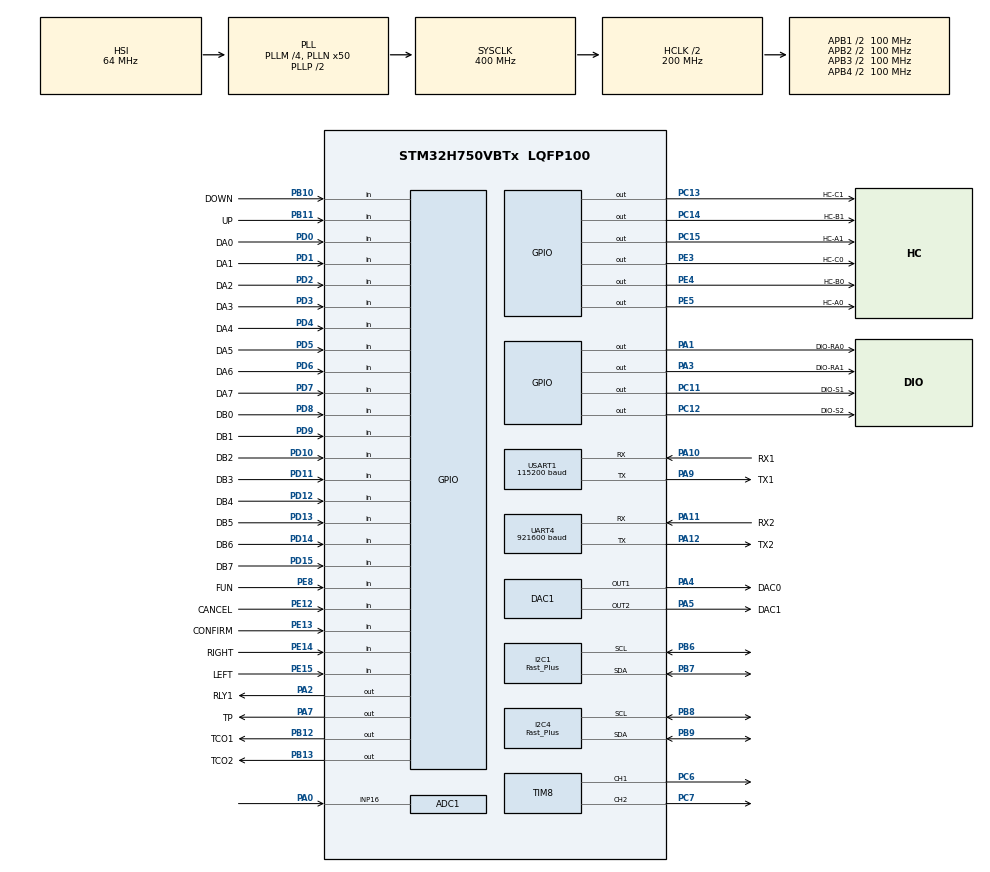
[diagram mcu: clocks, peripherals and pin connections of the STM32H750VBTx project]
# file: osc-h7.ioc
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ADC1.Channel-20\#ChannelRegularConversion=ADC_CHANNEL_16
ADC1.NbrOfConversionFlag=1
ADC1.OffsetNumber-20\#ChannelRegularConversion=ADC_OFFSET_NONE
ADC1.OffsetSignedSaturation-20\#ChannelRegularConversion=DISABLE
ADC1.Rank-20\#ChannelRegularConversion=1
ADC1.SamplingTime-20\#ChannelRegularConversion=ADC_SAMPLETIME_810CYCLES_5
ADC1.master=1
Bdma.BDMA_GENERATOR0.0.Direction=DMA_PERIPH_TO_MEMORY
Bdma.BDMA_GENERATOR0.0.EventEnable=DISABLE
Bdma.BDMA_GENERATOR0.0.Instance=BDMA_Channel0
Bdma.BDMA_GENERATOR0.0.MemDataAlignment=DMA_MDATAALIGN_BYTE
Bdma.BDMA_GENERATOR0.0.MemInc=DMA_MINC_ENABLE
Bdma.BDMA_GENERATOR0.0.Mode=DMA_NORMAL
Bdma.BDMA_GENERATOR0.0.PeriphDataAlignment=DMA_PDATAALIGN_BYTE
Bdma.BDMA_GENERATOR0.0.PeriphInc=DMA_PINC_DISABLE
Bdma.BDMA_GENERATOR0.0.Polarity=HAL_DMAMUX_REQ_GEN_RISING
Bdma.BDMA_GENERATOR0.0.Priority=DMA_PRIORITY_LOW
Bdma.BDMA_GENERATOR0.0.RequestNumber=1
Bdma.BDMA_GENERATOR0.0.SignalID=NONE
Bdma.BDMA_GENERATOR0.0.SyncEnable=DISABLE
Bdma.BDMA_GENERATOR0.0.SyncPolarity=HAL_DMAMUX_SYNC_NO_EVENT
Bdma.BDMA_GENERATOR0.0.SyncRequestNumber=1
Bdma.BDMA_GENERATOR0.0.SyncSignalID=NONE
Bdma.I2C4_TX.1.Direction=DMA_MEMORY_TO_PERIPH
Bdma.I2C4_TX.1.EventEnable=DISABLE
Bdma.I2C4_TX.1.Instance=BDMA_Channel1
Bdma.I2C4_TX.1.MemDataAlignment=DMA_MDATAALIGN_BYTE
Bdma.I2C4_TX.1.MemInc=DMA_MINC_ENABLE
Bdma.I2C4_TX.1.Mode=DMA_NORMAL
Bdma.I2C4_TX.1.PeriphDataAlignment=DMA_PDATAALIGN_BYTE
Bdma.I2C4_TX.1.PeriphInc=DMA_PINC_DISABLE
Bdma.I2C4_TX.1.Polarity=HAL_DMAMUX_REQ_GEN_RISING
Bdma.I2C4_TX.1.Priority=DMA_PRIORITY_LOW
Bdma.I2C4_TX.1.RequestNumber=1
Bdma.I2C4_TX.1.SignalID=NONE
Bdma.I2C4_TX.1.SyncEnable=DISABLE
Bdma.I2C4_TX.1.SyncPolarity=HAL_DMAMUX_SYNC_NO_EVENT
Bdma.I2C4_TX.1.SyncRequestNumber=1
Bdma.I2C4_TX.1.SyncSignalID=NONE
Bdma.Request0=BDMA_GENERATOR0
Bdma.Request1=I2C4_TX
Bdma.RequestsNb=2
DAC1.DAC_Channel-DAC_OUT1=DAC_CHANNEL_1
DAC1.DAC_Channel-DAC_OUT2=DAC_CHANNEL_2
Dma.Request0=USART1_RX
Dma.Request1=USART1_TX
Dma.Request2=TIM8_CH1
Dma.Request3=UART4_TX
Dma.Request4=TIM2_CH1
Dma.Request5=TIM2_CH2
Dma.Request6=TIM2_CH3
Dma.Request7=TIM2_CH4
Dma.TIM2_CH1.4.Direction=DMA_PERIPH_TO_MEMORY
Dma.TIM2_CH1.4.EventEnable=DISABLE
Dma.TIM2_CH1.4.FIFOMode=DMA_FIFOMODE_ENABLE
Dma.TIM2_CH1.4.FIFOThreshold=DMA_FIFO_THRESHOLD_FULL
Dma.TIM2_CH1.4.Instance=DMA1_Stream2
Dma.TIM2_CH1.4.MemBurst=DMA_MBURST_SINGLE
Dma.TIM2_CH1.4.MemDataAlignment=DMA_MDATAALIGN_HALFWORD
Dma.TIM2_CH1.4.MemInc=DMA_MINC_ENABLE
Dma.TIM2_CH1.4.Mode=DMA_NORMAL
Dma.TIM2_CH1.4.PeriphBurst=DMA_PBURST_SINGLE
Dma.TIM2_CH1.4.PeriphDataAlignment=DMA_PDATAALIGN_HALFWORD
Dma.TIM2_CH1.4.PeriphInc=DMA_PINC_DISABLE
Dma.TIM2_CH1.4.Polarity=HAL_DMAMUX_REQ_GEN_RISING
Dma.TIM2_CH1.4.Priority=DMA_PRIORITY_VERY_HIGH
Dma.TIM2_CH1.4.RequestNumber=1
Dma.TIM2_CH1.4.SignalID=NONE
Dma.TIM2_CH1.4.SyncEnable=DISABLE
Dma.TIM2_CH1.4.SyncPolarity=HAL_DMAMUX_SYNC_NO_EVENT
Dma.TIM2_CH1.4.SyncRequestNumber=1
Dma.TIM2_CH1.4.SyncSignalID=NONE
Dma.TIM2_CH2.5.Direction=DMA_PERIPH_TO_MEMORY
Dma.TIM2_CH2.5.EventEnable=DISABLE
Dma.TIM2_CH2.5.FIFOMode=DMA_FIFOMODE_ENABLE
Dma.TIM2_CH2.5.FIFOThreshold=DMA_FIFO_THRESHOLD_FULL
Dma.TIM2_CH2.5.Instance=DMA2_Stream0
Dma.TIM2_CH2.5.MemBurst=DMA_MBURST_SINGLE
Dma.TIM2_CH2.5.MemDataAlignment=DMA_MDATAALIGN_HALFWORD
Dma.TIM2_CH2.5.MemInc=DMA_MINC_ENABLE
Dma.TIM2_CH2.5.Mode=DMA_NORMAL
Dma.TIM2_CH2.5.PeriphBurst=DMA_PBURST_SINGLE
Dma.TIM2_CH2.5.PeriphDataAlignment=DMA_PDATAALIGN_HALFWORD
Dma.TIM2_CH2.5.PeriphInc=DMA_PINC_DISABLE
Dma.TIM2_CH2.5.Polarity=HAL_DMAMUX_REQ_GEN_RISING
Dma.TIM2_CH2.5.Priority=DMA_PRIORITY_HIGH
Dma.TIM2_CH2.5.RequestNumber=1
Dma.TIM2_CH2.5.SignalID=NONE
Dma.TIM2_CH2.5.SyncEnable=DISABLE
Dma.TIM2_CH2.5.SyncPolarity=HAL_DMAMUX_SYNC_NO_EVENT
Dma.TIM2_CH2.5.SyncRequestNumber=1
Dma.TIM2_CH2.5.SyncSignalID=NONE
Dma.TIM2_CH3.6.Direction=DMA_PERIPH_TO_MEMORY
Dma.TIM2_CH3.6.EventEnable=DISABLE
Dma.TIM2_CH3.6.FIFOMode=DMA_FIFOMODE_ENABLE
Dma.TIM2_CH3.6.FIFOThreshold=DMA_FIFO_THRESHOLD_FULL
Dma.TIM2_CH3.6.Instance=DMA1_Stream3
Dma.TIM2_CH3.6.MemBurst=DMA_MBURST_SINGLE
Dma.TIM2_CH3.6.MemDataAlignment=DMA_MDATAALIGN_HALFWORD
Dma.TIM2_CH3.6.MemInc=DMA_MINC_ENABLE
Dma.TIM2_CH3.6.Mode=DMA_NORMAL
Dma.TIM2_CH3.6.PeriphBurst=DMA_PBURST_SINGLE
Dma.TIM2_CH3.6.PeriphDataAlignment=DMA_PDATAALIGN_HALFWORD
Dma.TIM2_CH3.6.PeriphInc=DMA_PINC_DISABLE
Dma.TIM2_CH3.6.Polarity=HAL_DMAMUX_REQ_GEN_RISING
Dma.TIM2_CH3.6.Priority=DMA_PRIORITY_MEDIUM
Dma.TIM2_CH3.6.RequestNumber=1
Dma.TIM2_CH3.6.SignalID=NONE
Dma.TIM2_CH3.6.SyncEnable=DISABLE
Dma.TIM2_CH3.6.SyncPolarity=HAL_DMAMUX_SYNC_NO_EVENT
Dma.TIM2_CH3.6.SyncRequestNumber=1
Dma.TIM2_CH3.6.SyncSignalID=NONE
Dma.TIM2_CH4.7.Direction=DMA_PERIPH_TO_MEMORY
Dma.TIM2_CH4.7.EventEnable=DISABLE
Dma.TIM2_CH4.7.FIFOMode=DMA_FIFOMODE_ENABLE
Dma.TIM2_CH4.7.FIFOThreshold=DMA_FIFO_THRESHOLD_FULL
Dma.TIM2_CH4.7.Instance=DMA2_Stream1
Dma.TIM2_CH4.7.MemBurst=DMA_MBURST_SINGLE
Dma.TIM2_CH4.7.MemDataAlignment=DMA_MDATAALIGN_HALFWORD
Dma.TIM2_CH4.7.MemInc=DMA_MINC_ENABLE
Dma.TIM2_CH4.7.Mode=DMA_NORMAL
Dma.TIM2_CH4.7.PeriphBurst=DMA_PBURST_SINGLE
Dma.TIM2_CH4.7.PeriphDataAlignment=DMA_PDATAALIGN_HALFWORD
Dma.TIM2_CH4.7.PeriphInc=DMA_PINC_DISABLE
Dma.TIM2_CH4.7.Polarity=HAL_DMAMUX_REQ_GEN_RISING
Dma.TIM2_CH4.7.Priority=DMA_PRIORITY_LOW
Dma.TIM2_CH4.7.RequestNumber=1
Dma.TIM2_CH4.7.SignalID=NONE
Dma.TIM2_CH4.7.SyncEnable=DISABLE
Dma.TIM2_CH4.7.SyncPolarity=HAL_DMAMUX_SYNC_NO_EVENT
Dma.TIM2_CH4.7.SyncRequestNumber=1
Dma.TIM2_CH4.7.SyncSignalID=NONE
Dma.TIM8_CH1.2.Direction=DMA_PERIPH_TO_MEMORY
Dma.TIM8_CH1.2.EventEnable=DISABLE
Dma.TIM8_CH1.2.FIFOMode=DMA_FIFOMODE_DISABLE
Dma.TIM8_CH1.2.Instance=DMA1_Stream0
Dma.TIM8_CH1.2.MemDataAlignment=DMA_MDATAALIGN_HALFWORD
Dma.TIM8_CH1.2.MemInc=DMA_MINC_ENABLE
Dma.TIM8_CH1.2.Mode=DMA_NORMAL
Dma.TIM8_CH1.2.PeriphDataAlignment=DMA_PDATAALIGN_HALFWORD
Dma.TIM8_CH1.2.PeriphInc=DMA_PINC_DISABLE
Dma.TIM8_CH1.2.Polarity=HAL_DMAMUX_REQ_GEN_RISING
Dma.TIM8_CH1.2.Priority=DMA_PRIORITY_VERY_HIGH
Dma.TIM8_CH1.2.RequestNumber=1
Dma.TIM8_CH1.2.SignalID=NONE
Dma.TIM8_CH1.2.SyncEnable=DISABLE
Dma.TIM8_CH1.2.SyncPolarity=HAL_DMAMUX_SYNC_NO_EVENT
Dma.TIM8_CH1.2.SyncRequestNumber=1
Dma.TIM8_CH1.2.SyncSignalID=NONE
Dma.UART4_TX.3.Direction=DMA_MEMORY_TO_PERIPH
Dma.UART4_TX.3.EventEnable=DISABLE
Dma.UART4_TX.3.FIFOMode=DMA_FIFOMODE_DISABLE
Dma.UART4_TX.3.Instance=DMA1_Stream1
Dma.UART4_TX.3.MemDataAlignment=DMA_MDATAALIGN_BYTE
Dma.UART4_TX.3.MemInc=DMA_MINC_ENABLE
Dma.UART4_TX.3.Mode=DMA_NORMAL
Dma.UART4_TX.3.PeriphDataAlignment=DMA_PDATAALIGN_BYTE
Dma.UART4_TX.3.PeriphInc=DMA_PINC_DISABLE
Dma.UART4_TX.3.Polarity=HAL_DMAMUX_REQ_GEN_RISING
Dma.UART4_TX.3.Priority=DMA_PRIORITY_VERY_HIGH
Dma.UART4_TX.3.RequestNumber=1
Dma.UART4_TX.3.SignalID=NONE
Dma.UART4_TX.3.SyncEnable=DISABLE
Dma.UART4_TX.3.SyncPolarity=HAL_DMAMUX_SYNC_NO_EVENT
Dma.UART4_TX.3.SyncRequestNumber=1
Dma.UART4_TX.3.SyncSignalID=NONE
Dma.USART1_RX.0.Direction=DMA_PERIPH_TO_MEMORY
Dma.USART1_RX.0.EventEnable=DISABLE
Dma.USART1_RX.0.FIFOMode=DMA_FIFOMODE_DISABLE
Dma.USART1_RX.0.Instance=DMA1_Stream5
Dma.USART1_RX.0.MemDataAlignment=DMA_MDATAALIGN_HALFWORD
Dma.USART1_RX.0.MemInc=DMA_MINC_ENABLE
Dma.USART1_RX.0.Mode=DMA_NORMAL
Dma.USART1_RX.0.PeriphDataAlignment=DMA_PDATAALIGN_HALFWORD
Dma.USART1_RX.0.PeriphInc=DMA_PINC_DISABLE
Dma.USART1_RX.0.Polarity=HAL_DMAMUX_REQ_GEN_RISING
Dma.USART1_RX.0.Priority=DMA_PRIORITY_VERY_HIGH
Dma.USART1_RX.0.RequestNumber=1
Dma.USART1_RX.0.SignalID=NONE
Dma.USART1_RX.0.SyncEnable=DISABLE
Dma.USART1_RX.0.SyncPolarity=HAL_DMAMUX_SYNC_NO_EVENT
Dma.USART1_RX.0.SyncRequestNumber=1
Dma.USART1_RX.0.SyncSignalID=NONE
Dma.USART1_TX.1.Direction=DMA_MEMORY_TO_PERIPH
Dma.USART1_TX.1.EventEnable=DISABLE
Dma.USART1_TX.1.FIFOMode=DMA_FIFOMODE_DISABLE
Dma.USART1_TX.1.Instance=DMA1_Stream6
Dma.USART1_TX.1.MemDataAlignment=DMA_MDATAALIGN_HALFWORD
Dma.USART1_TX.1.MemInc=DMA_MINC_ENABLE
Dma.USART1_TX.1.Mode=DMA_NORMAL
Dma.USART1_TX.1.PeriphDataAlignment=DMA_PDATAALIGN_HALFWORD
Dma.USART1_TX.1.PeriphInc=DMA_PINC_DISABLE
Dma.USART1_TX.1.Polarity=HAL_DMAMUX_REQ_GEN_RISING
Dma.USART1_TX.1.Priority=DMA_PRIORITY_VERY_HIGH
Dma.USART1_TX.1.RequestNumber=1
Dma.USART1_TX.1.SignalID=NONE
Dma.USART1_TX.1.SyncEnable=DISABLE
Dma.USART1_TX.1.SyncPolarity=HAL_DMAMUX_SYNC_NO_EVENT
Dma.USART1_TX.1.SyncRequestNumber=1
Dma.USART1_TX.1.SyncSignalID=NONE
I2C1.I2C_Speed_Mode=I2C_Fast_Plus
I2C1.Timing=0x00401242
I2C4.I2C_Speed_Mode=I2C_Fast_Plus
I2C4.Timing=0x00401242
Mcu.Family=STM32H7
Mcu.Name=STM32H750VBTx
Mcu.Package=LQFP100
NVIC.BDMA_Channel1_IRQn=true\:0\:0\:false\:false\:true\:false\:true\:true
NVIC.DMA1_Stream0_IRQn=true\:0\:0\:false\:false\:true\:false\:true\:true
NVIC.DMA1_Stream1_IRQn=true\:0\:0\:false\:false\:true\:false\:true\:true
NVIC.DMA1_Stream2_IRQn=true\:0\:0\:false\:false\:true\:false\:true\:true
NVIC.DMA1_Stream3_IRQn=true\:0\:0\:false\:false\:true\:false\:true\:true
NVIC.DMA1_Stream5_IRQn=true\:0\:0\:false\:false\:true\:false\:true\:true
NVIC.DMA1_Stream6_IRQn=true\:0\:0\:false\:false\:true\:false\:true\:true
NVIC.DMA2_Stream0_IRQn=true\:0\:0\:false\:false\:true\:false\:true\:true
NVIC.DMA2_Stream1_IRQn=true\:0\:0\:false\:false\:true\:false\:true\:true
NVIC.I2C4_ER_IRQn=true\:0\:0\:false\:false\:true\:true\:true\:true
NVIC.I2C4_EV_IRQn=true\:0\:0\:false\:false\:true\:true\:true\:true
NVIC.PriorityGroup=NVIC_PRIORITYGROUP_4
NVIC.TIM2_IRQn=true\:2\:0\:true\:false\:true\:true\:true\:true
NVIC.TIM3_IRQn=true\:3\:0\:true\:false\:true\:true\:true\:true
NVIC.TIM4_IRQn=true\:3\:0\:true\:false\:true\:true\:true\:true
NVIC.TIM5_IRQn=true\:2\:0\:true\:false\:true\:true\:true\:true
NVIC.TIM6_DAC_IRQn=true\:2\:0\:true\:false\:true\:true\:true\:true
NVIC.UART4_IRQn=true\:0\:0\:false\:false\:true\:true\:true\:true
NVIC.USART1_IRQn=true\:0\:0\:false\:false\:true\:true\:true\:true
PA0.Mode=IN16-Single-Ended
PA0.Signal=ADC1_INP16
PA1.GPIO_Label=DIO-RA0
PA1.Signal=GPIO_Output
PA10.GPIO_Label=RX1
PA10.Mode=Asynchronous
PA10.Signal=USART1_RX
PA11.GPIO_Label=RX2
PA11.Mode=Asynchronous
PA11.Signal=UART4_RX
PA12.GPIO_Label=TX2
PA12.Mode=Asynchronous
PA12.Signal=UART4_TX
PA2.GPIO_Label=RLY1
PA2.Signal=GPIO_Output
PA3.GPIO_Label=DIO-RA1
PA3.Signal=GPIO_Output
PA4.GPIO_Label=DAC0
PA4.Signal=COMP_DAC11_group
PA5.GPIO_Label=DAC1
PA5.Signal=COMP_DAC12_group
PA7.GPIO_Label=TP
PA7.GPIO_ModeDefaultOutputPP=GPIO_MODE_OUTPUT_PP
PA7.GPIO_PuPd=GPIO_PULLUP
PA7.PinState=GPIO_PIN_SET
PA7.Signal=GPIO_Output
PA9.GPIO_Label=TX1
PA9.Mode=Asynchronous
PA9.Signal=USART1_TX
PB10.GPIO_Label=DOWN
PB10.GPIO_PuPd=GPIO_PULLUP
PB10.Signal=GPIO_Input
PB11.GPIO_Label=UP
PB11.GPIO_PuPd=GPIO_PULLUP
PB11.Signal=GPIO_Input
PB12.GPIO_Label=TCO1
PB12.Signal=GPIO_Output
PB13.GPIO_Label=TCO2
PB13.Signal=GPIO_Output
PB6.GPIO_Pu=GPIO_PULLUP
PB6.Mode=I2C
PB6.Signal=I2C1_SCL
PB7.GPIO_Pu=GPIO_PULLUP
PB7.Mode=I2C
PB7.Signal=I2C1_SDA
PB8.GPIO_Pu=GPIO_PULLUP
PB8.Mode=I2C
PB8.Signal=I2C4_SCL
PB9.GPIO_Pu=GPIO_PULLUP
PB9.Mode=I2C
PB9.Signal=I2C4_SDA
PC11.GPIO_Label=DIO-S1
PC11.GPIO_ModeDefaultOutputPP=GPIO_MODE_OUTPUT_PP
PC11.PinAttribute=Free
PC11.Signal=GPIO_Output
PC12.GPIO_Label=DIO-S2
PC12.Signal=GPIO_Output
PC13.GPIO_Label=HC-C1
PC13.Signal=GPIO_Output
PC14-OSC32_IN\ (OSC32_IN).GPIO_Label=HC-B1
PC14-OSC32_IN\ (OSC32_IN).Signal=GPIO_Output
PC15-OSC32_OUT\ (OSC32_OUT).GPIO_Label=HC-A1
PC15-OSC32_OUT\ (OSC32_OUT).Signal=GPIO_Output
PC6.GPIO_Speed=GPIO_SPEED_FREQ_VERY_HIGH
PC6.Signal=S_TIM8_CH1
PC7.GPIO_Speed=GPIO_SPEED_FREQ_VERY_HIGH
PC7.Signal=S_TIM8_CH2
PD0.GPIO_Label=DA0
PD0.GPIO_PuPd=GPIO_PULLDOWN
PD0.PinAttribute=Free
PD0.Signal=GPIO_Input
PD1.GPIO_Label=DA1
PD1.GPIO_PuPd=GPIO_PULLDOWN
PD1.PinAttribute=Free
PD1.Signal=GPIO_Input
PD10.GPIO_Label=DB2
PD10.GPIO_PuPd=GPIO_PULLDOWN
PD10.Signal=GPIO_Input
PD11.GPIO_Label=DB3
PD11.GPIO_Mode=GPIO_MODE_INPUT
PD11.GPIO_PuPd=GPIO_PULLDOWN
PD11.Signal=GPIO_Input
PD12.GPIO_Label=DB4
PD12.GPIO_Mode=GPIO_MODE_INPUT
PD12.GPIO_PuPd=GPIO_PULLDOWN
PD12.Signal=GPIO_Input
PD13.GPIO_Label=DB5
PD13.GPIO_Mode=GPIO_MODE_INPUT
PD13.GPIO_PuPd=GPIO_PULLDOWN
PD13.Signal=GPIO_Input
PD14.GPIO_Label=DB6
PD14.GPIO_Mode=GPIO_MODE_INPUT
PD14.GPIO_PuPd=GPIO_PULLDOWN
PD14.Signal=GPIO_Input
PD15.GPIO_Label=DB7
PD15.GPIO_Mode=GPIO_MODE_INPUT
PD15.GPIO_PuPd=GPIO_PULLDOWN
PD15.Signal=GPIO_Input
PD2.GPIO_Label=DA2
PD2.GPIO_PuPd=GPIO_PULLDOWN
PD2.PinAttribute=Free
PD2.Signal=GPIO_Input
PD3.GPIO_Label=DA3
PD3.GPIO_PuPd=GPIO_PULLUP
PD3.PinAttribute=Free
PD3.Signal=GPIO_Input
PD4.GPIO_Label=DA4
PD4.GPIO_PuPd=GPIO_PULLDOWN
PD4.PinAttribute=Free
PD4.Signal=GPIO_Input
PD5.GPIO_Label=DA5
PD5.GPIO_PuPd=GPIO_PULLDOWN
PD5.PinAttribute=Free
PD5.Signal=GPIO_Input
PD6.GPIO_Label=DA6
PD6.GPIO_PuPd=GPIO_PULLDOWN
PD6.PinAttribute=Free
PD6.Signal=GPIO_Input
PD7.GPIO_Label=DA7
PD7.GPIO_PuPd=GPIO_PULLUP
PD7.Signal=GPIO_Input
PD8.GPIO_Label=DB0
PD8.GPIO_PuPd=GPIO_PULLDOWN
PD8.Signal=GPIO_Input
PD9.GPIO_Label=DB1
PD9.GPIO_PuPd=GPIO_PULLDOWN
PD9.Signal=GPIO_Input
PE12.GPIO_Label=CANCEL
PE12.GPIO_PuPd=GPIO_PULLUP
PE12.Signal=GPIO_Input
PE13.GPIO_Label=CONFIRM
PE13.GPIO_PuPd=GPIO_PULLUP
PE13.Signal=GPIO_Input
PE14.GPIO_Label=RIGHT
PE14.GPIO_PuPd=GPIO_PULLUP
PE14.Signal=GPIO_Input
PE15.GPIO_Label=LEFT
PE15.GPIO_PuPd=GPIO_PULLUP
PE15.Signal=GPIO_Input
PE3.GPIO_Label=HC-C0
PE3.PinAttribute=Free
PE3.Signal=GPIO_Output
PE4.GPIO_Label=HC-B0
PE4.PinAttribute=Free
PE4.Signal=GPIO_Output
PE5.GPIO_Label=HC-A0
PE5.PinAttribute=Free
PE5.Signal=GPIO_Output
PE8.GPIO_Label=FUN
PE8.GPIO_PuPd=GPIO_PULLUP
PE8.Signal=GPIO_Input
PH0-OSC_IN\ (PH0).Mode=HSE-External-Oscillator
PH0-OSC_IN\ (PH0).PinAttribute=Free
PH0-OSC_IN\ (PH0).Signal=RCC_OSC_IN
PH1-OSC_OUT\ (PH1).Mode=HSE-External-Oscillator
PH1-OSC_OUT\ (PH1).Signal=RCC_OSC_OUT
ProjectManager.HeapSize=0x200
ProjectManager.StackSize=0x400
ProjectManager.TargetToolchain=MDK-ARM V5.32
RCC.ADCFreq_Value=75000000
RCC.APB1Freq_Value=100000000
RCC.APB2Freq_Value=100000000
RCC.APB3Freq_Value=100000000
RCC.APB4Freq_Value=100000000
RCC.CortexFreq_Value=400000000
RCC.D1PPRE=RCC_APB3_DIV2
RCC.D2PPRE1=RCC_APB1_DIV2
RCC.D2PPRE2=RCC_APB2_DIV2
RCC.D3PPRE=RCC_APB4_DIV2
RCC.DIVM1=4
RCC.DIVM2=4
RCC.DIVN1=50
RCC.DIVN2=9
RCC.FLatency-AdvancedSettings=FLASH_LATENCY_4
RCC.HCLKFreq_Value=200000000
RCC.HPRE=RCC_HCLK_DIV2
RCC.PLL1_VCI_Range-AdvancedSettings=RCC_PLL1VCIRANGE_1
RCC.PLL2FRACN=3072
RCC.PLL2_VCI_Range-AdvancedSettings=RCC_PLL2VCIRANGE_2
RCC.PLL3FRACN=0
RCC.PLL3_VCI_Range-AdvancedSettings=RCC_PLL3VCIRANGE_0
RCC.PLL3_VCO_SEL-AdvancedSettings=RCC_PLL3VCOMEDIUM
RCC.PLLFRACN=0
RCC.SYSCLKFreq_VALUE=400000000
RCC.SYSCLKSource=RCC_SYSCLKSOURCE_PLLCLK
RCC.USART16CLockSelection=RCC_USART16CLKSOURCE_PLL2
RCC.USART234578CLockSelection=RCC_USART234578CLKSOURCE_PLL2
RCC.USBFreq_Value=400000000
SH.COMP_DAC11_group.0=DAC1_OUT1,DAC_OUT1
SH.COMP_DAC12_group.0=DAC1_OUT2,DAC_OUT2
SH.S_TIM8_CH1.0=TIM8_CH1,PWM Generation1 CH1
SH.S_TIM8_CH2.0=TIM8_CH2,PWM Generation2 CH2
TIM2.AutoReloadPreload=TIM_AUTORELOAD_PRELOAD_ENABLE
TIM2.Channel-PWM\ Generation1\ No\ Output=TIM_CHANNEL_1
TIM2.Channel-PWM\ Generation2\ No\ Output=TIM_CHANNEL_2
TIM2.Channel-PWM\ Generation3\ No\ Output=TIM_CHANNEL_3
TIM2.Channel-PWM\ Generation4\ No\ Output=TIM_CHANNEL_4
TIM2.Period=8-1
TIM2.Prescaler=1-1
TIM2.Pulse-PWM\ Generation1\ No\ Output=1
TIM2.Pulse-PWM\ Generation2\ No\ Output=3
TIM2.Pulse-PWM\ Generation3\ No\ Output=5
TIM2.Pulse-PWM\ Generation4\ No\ Output=7
TIM2.TIM_MasterOutputTrigger=TIM_TRGO_RESET
TIM3.Period=2000-1
TIM3.Prescaler=20000-1
TIM4.Period=100-1
TIM4.Prescaler=20000-1
TIM6.Prescaler=200-1
TIM8.AutoReloadPreload=TIM_AUTORELOAD_PRELOAD_ENABLE
TIM8.AutomaticOutput=TIM_AUTOMATICOUTPUT_ENABLE
TIM8.Channel-PWM\ Generation1\ CH1=TIM_CHANNEL_1
TIM8.Channel-PWM\ Generation2\ CH2=TIM_CHANNEL_2
TIM8.Pulse-PWM\ Generation1\ CH1=1
TIM8.Pulse-PWM\ Generation2\ CH2=1
TIM8.TIM_MasterOutputTrigger=TIM_TRGO_UPDATE
TIM8.TIM_MasterOutputTrigger2=TIM_TRGO2_UPDATE
TIM8.TIM_MasterSlaveMode=TIM_MASTERSLAVEMODE_ENABLE
UART4.BaudRate=921600
USART1.BaudRate=115200
USART1.VirtualMode-Asynchronous=VM_ASYNC
VP_TIM2_VS_ClockSourceINT.Mode=Internal
VP_TIM2_VS_no_output1.Mode=PWM Generation1 No Output
VP_TIM2_VS_no_output2.Mode=PWM Generation2 No Output
VP_TIM2_VS_no_output3.Mode=PWM Generation3 No Output
VP_TIM2_VS_no_output4.Mode=PWM Generation4 No Output
VP_TIM3_VS_ClockSourceINT.Mode=Internal
VP_TIM4_VS_ClockSourceINT.Mode=Internal
VP_TIM5_VS_ClockSourceINT.Mode=Internal
VP_TIM6_VS_ClockSourceINT.Mode=Enable_Timer
VP_TIM8_VS_ClockSourceINT.Mode=Internal
VP_VREFBUF_V_VREFBUF.Mode=ExternalMode
board=custom

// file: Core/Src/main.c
/* USER CODE BEGIN Header */
/**
  ******************************************************************************
  * @file           : main.c
  * @brief          : Main program body
  ******************************************************************************
  * @attention
  *
  * Copyright (c) 2024 STMicroelectronics.
  * All rights reserved.
  *
  * This software is licensed under terms that can be found in the LICENSE file
  * in the root directory of this software component.
  * If no LICENSE file comes with this software, it is provided AS-IS.
  *
  ******************************************************************************
  */
/* USER CODE END Header */
#include "main.h"
#include "adc.h"
#include "bdma.h"
#include "dac.h"
#include "dma.h"
#include "i2c.h"
#include "tim.h"
#include "usart.h"
#include "gpio.h"

/* USER CODE BEGIN Includes */
#include "stdio.h"
#include "osc.h"
#include "key.h"
#include "filter.h"
#include "button.h"
#include "menu.h"
//#include "flash.h"
//#include "DS18B20.h"
#include "function.h"
#include "18b20.h"
#include "ac.h"
/* USER CODE END Includes */

/* USER CODE BEGIN PV */
uint32_t value;
/* USER CODE END PV */

void SystemClock_Config(void);
void PeriphCommonClock_Config(void);
/* USER CODE BEGIN PFP */

int fputc(int ch, FILE* file)
{
    UART4->TDR = ch & 0xFF;

    while((UART4->ISR & UART_FLAG_TC) == RESET);

    return ch;
}

/* USER CODE END PFP */

/* USER CODE BEGIN 0 */
void Test_ADC_Direct(void);
/* USER CODE END 0 */

int main(void)
{

  /* MCU Configuration--------------------------------------------------------*/

  /* Reset of all peripherals, Initializes the Flash interface and the Systick. */
  HAL_Init();

  /* USER CODE BEGIN Init */
	SCB_DisableDCache();
  /* USER CODE END Init */

  /* Configure the system clock */
  SystemClock_Config();

/* Configure the peripherals common clocks */
  PeriphCommonClock_Config();

  /* USER CODE BEGIN SysInit */
	HAL_Delay(1000);
  /* USER CODE END SysInit */

  /* Initialize all configured peripherals */
  MX_GPIO_Init();
  MX_DMA_Init();
  MX_BDMA_Init();
  MX_TIM3_Init();
  MX_USART1_UART_Init();
  MX_DAC1_Init();
  MX_UART4_Init();
  MX_I2C1_Init();
  MX_I2C4_Init();
  MX_ADC1_Init();
  MX_TIM5_Init();
  MX_TIM8_Init();
  MX_TIM2_Init();
  MX_TIM4_Init();
  MX_TIM6_Init();
  /* USER CODE BEGIN 2 */

	Init_Osc();
	init_tempctrl();
	DAC_init();
	DS18B20_Init();
	DS18B20_SetLowResolution();
	HAL_ADCEx_Calibration_Start(&hadc1, ADC_CALIB_OFFSET, ADC_SINGLE_ENDED);

  /* USER CODE END 2 */

  /* Infinite loop */
  /* USER CODE BEGIN WHILE */

//	Start_ADC_Conversion();
  while (1)
  {
//		temperature_now=DS18B20_Get_Temperature()*0.0625;;
//		printf("temp_now_1.txt=\"%.1f℃\"\xff\xff\xff",temperature_now);
//		HAL_Delay(10);
    /* USER CODE END WHILE */

  }
}

void SystemClock_Config(void)
{
  RCC_OscInitTypeDef RCC_OscInitStruct = {0};
  RCC_ClkInitTypeDef RCC_ClkInitStruct = {0};

  /** Supply configuration update enable
  */
  HAL_PWREx_ConfigSupply(PWR_LDO_SUPPLY);

  /** Configure the main internal regulator output voltage
  */
  __HAL_PWR_VOLTAGESCALING_CONFIG(PWR_REGULATOR_VOLTAGE_SCALE1);

  while(!__HAL_PWR_GET_FLAG(PWR_FLAG_VOSRDY)) {}

  /** Initializes the RCC Oscillators according to the specified parameters
  * in the RCC_OscInitTypeDef structure.
  */
  RCC_OscInitStruct.OscillatorType = RCC_OSCILLATORTYPE_HSI;
  RCC_OscInitStruct.HSIState = RCC_HSI_DIV1;
  RCC_OscInitStruct.HSICalibrationValue = RCC_HSICALIBRATION_DEFAULT;
  RCC_OscInitStruct.PLL.PLLState = RCC_PLL_ON;
  RCC_OscInitStruct.PLL.PLLSource = RCC_PLLSOURCE_HSI;
  RCC_OscInitStruct.PLL.PLLM = 4;
  RCC_OscInitStruct.PLL.PLLN = 50;
  RCC_OscInitStruct.PLL.PLLP = 2;
  RCC_OscInitStruct.PLL.PLLQ = 2;
  RCC_OscInitStruct.PLL.PLLR = 2;
  RCC_OscInitStruct.PLL.PLLRGE = RCC_PLL1VCIRANGE_3;
  RCC_OscInitStruct.PLL.PLLVCOSEL = RCC_PLL1VCOWIDE;
  RCC_OscInitStruct.PLL.PLLFRACN = 0;
  if (HAL_RCC_OscConfig(&RCC_OscInitStruct) != HAL_OK)
  {
    Error_Handler();
  }

  /** Initializes the CPU, AHB and APB buses clocks
  */
  RCC_ClkInitStruct.ClockType = RCC_CLOCKTYPE_HCLK|RCC_CLOCKTYPE_SYSCLK
                              |RCC_CLOCKTYPE_PCLK1|RCC_CLOCKTYPE_PCLK2
                              |RCC_CLOCKTYPE_D3PCLK1|RCC_CLOCKTYPE_D1PCLK1;
  RCC_ClkInitStruct.SYSCLKSource = RCC_SYSCLKSOURCE_PLLCLK;
  RCC_ClkInitStruct.SYSCLKDivider = RCC_SYSCLK_DIV1;
  RCC_ClkInitStruct.AHBCLKDivider = RCC_HCLK_DIV2;
  RCC_ClkInitStruct.APB3CLKDivider = RCC_APB3_DIV2;
  RCC_ClkInitStruct.APB1CLKDivider = RCC_APB1_DIV2;
  RCC_ClkInitStruct.APB2CLKDivider = RCC_APB2_DIV2;
  RCC_ClkInitStruct.APB4CLKDivider = RCC_APB4_DIV2;

  if (HAL_RCC_ClockConfig(&RCC_ClkInitStruct, FLASH_LATENCY_2) != HAL_OK)
  {
    Error_Handler();
  }
}

void PeriphCommonClock_Config(void)
{
  RCC_PeriphCLKInitTypeDef PeriphClkInitStruct = {0};

  /** Initializes the peripherals clock
  */
  PeriphClkInitStruct.PeriphClockSelection = RCC_PERIPHCLK_ADC|RCC_PERIPHCLK_USART1
                              |RCC_PERIPHCLK_UART4;
  PeriphClkInitStruct.PLL2.PLL2M = 4;
  PeriphClkInitStruct.PLL2.PLL2N = 9;
  PeriphClkInitStruct.PLL2.PLL2P = 2;
  PeriphClkInitStruct.PLL2.PLL2Q = 2;
  PeriphClkInitStruct.PLL2.PLL2R = 2;
  PeriphClkInitStruct.PLL2.PLL2RGE = RCC_PLL2VCIRANGE_3;
  PeriphClkInitStruct.PLL2.PLL2VCOSEL = RCC_PLL2VCOMEDIUM;
  PeriphClkInitStruct.PLL2.PLL2FRACN = 3072;
  PeriphClkInitStruct.Usart234578ClockSelection = RCC_USART234578CLKSOURCE_PLL2;
  PeriphClkInitStruct.Usart16ClockSelection = RCC_USART16CLKSOURCE_PLL2;
  PeriphClkInitStruct.AdcClockSelection = RCC_ADCCLKSOURCE_PLL2;
  if (HAL_RCCEx_PeriphCLKConfig(&PeriphClkInitStruct) != HAL_OK)
  {
    Error_Handler();
  }
}

/* USER CODE BEGIN 4 */
// 最简单的测试代码
void Test_ADC_Direct(void)
{
		delay_us(20);
    // 启动一次转换
    HAL_ADC_Start(&hadc1);

		// 等待转换完成
		if(HAL_ADC_PollForConversion(&hadc1, 1000) == HAL_OK)
		{
				value = HAL_ADC_GetValue(&hadc1);
		}
		else
		{
				printf("ADC timeout!\n");
		}
//		if(value<2000) value=2000;

		static uint32_t value_buffer[50],value_average,value_sum;
		static int counter=0,show_value_counter=0;
		value_buffer[counter]=value;
		counter++;
		if(counter==49) counter=0;
		value_average=avg_Filter_int((int*)value_buffer,50);
//		value_sum=0;
//		for(int i=0;i<50;i++)
//		{
//			value_sum+=value_buffer[i];
//		}
//		value_average=value_sum/50;
		//value_average=value;

//		printf("T_light.txt=\"%d\"\xff\xff\xff",value_average);
		//5,1r电阻上电压
		static float vol_on_res51;
		//vol_on_res51=value/65536.0000*3.3;
		vol_on_res51=(value_average)/65536.0000*3.3;
		current=vol_on_res51/5.40*1000*1;
		if(current<=0.09) current=0;
				else current=current-0.09;
//		printf("T_pool.txt=\"%.4fV\"\xff\xff\xff",vol_on_res51);
		//总电压
//		printf("I_hori.txt=\"%.3fV\"\xff\xff\xff",(voltage_sum_mv)/1000.000/3.3*7.54);
//		show_value_counter++;
//		if(show_value_counter>100)
//		{
//			show_value_counter=0;
//			//LED电流
//			printf("current1.txt=\"%.2fmA\"\xff\xff\xff",current);
//			//LED电压
//			printf("vol_led1.txt=\"%.4f\"\xff\xff\xff",(voltage_sum_mv-current*11.1)/1000.0000);
//		}

//		HAL_Delay(1);
}
/* USER CODE END 4 */

void Error_Handler(void)
{
  __disable_irq();
  while (1)
  {
  }
}
